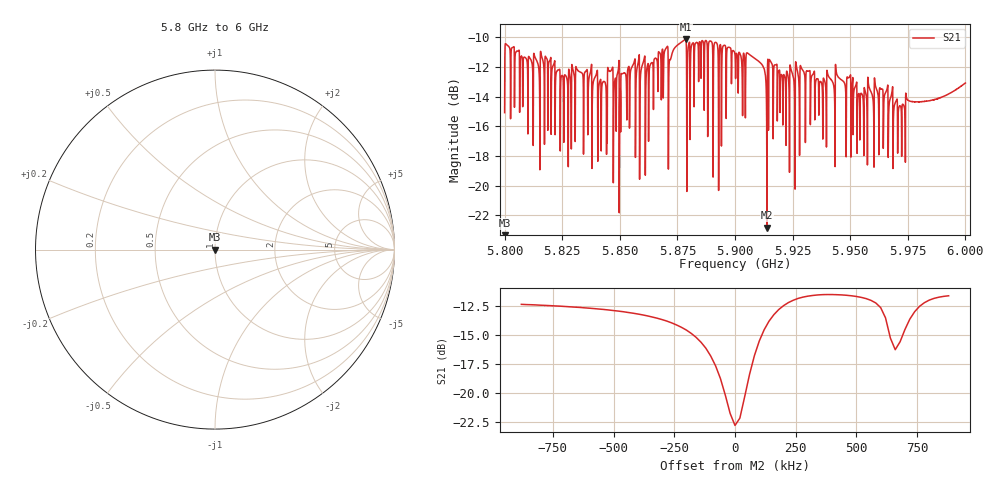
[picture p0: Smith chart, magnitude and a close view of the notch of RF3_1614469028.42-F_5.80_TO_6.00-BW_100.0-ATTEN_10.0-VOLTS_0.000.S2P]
!Keysight Technologies,E5063A,MY54502693,A.05.04
!Date: Sat Feb 27 16:37:27 2021
!Data & Calibration Information:
!Freq	S11:NONE(--)	S21:NONE(--)	S12:NONE(--)	S22:NONE(--)
# Hz S RI R 50
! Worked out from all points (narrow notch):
!   10000 points, 5.8 GHz to 6 GHz, reference 50 ohm
!   highest |S21| = -10.11 dB at 5.8785 GHz (marker M1); lowest = -22.8 dB at 5.9139 GHz (marker M2)
!   notch at M2: 10.4 dB deep, 149 kHz wide at half that depth
!   lowest |S11| = - dB at 5.8 GHz (marker M3), VSWR 1.00, Z = 50 + j0 ohm
!   |S11| at or under -10 dB: start of sweep to end of sweep
!   S12 and S22 are empty: the file has one direction only
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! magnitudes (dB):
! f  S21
! 5.8 GHz  -15.1
! 5.8012 GHz  -10.5
! 5.825 GHz  -12.6
! 5.8333 GHz  -12.4
! 5.8414 GHz  -12.9
! 5.846 GHz  -12.3
! 5.8481 GHz  -12.8
! 5.8557 GHz  -11.9
! 5.862 GHz  -11.9
! 5.8667 GHz  -11.3
! 5.872 GHz  -11.5
! 5.8778 GHz  -10.2
! 5.8785 GHz  -10.1
! 5.9 GHz  -11.2
! 5.911 GHz  -11.7
! 5.9139 GHz  -22.8
! 5.9151 GHz  -11.5
! 5.9228 GHz  -12.4
! 5.9334 GHz  -12.6
! 5.9667 GHz  -15.3
! 5.9715 GHz  -14.6
! 6 GHz  -13.1
